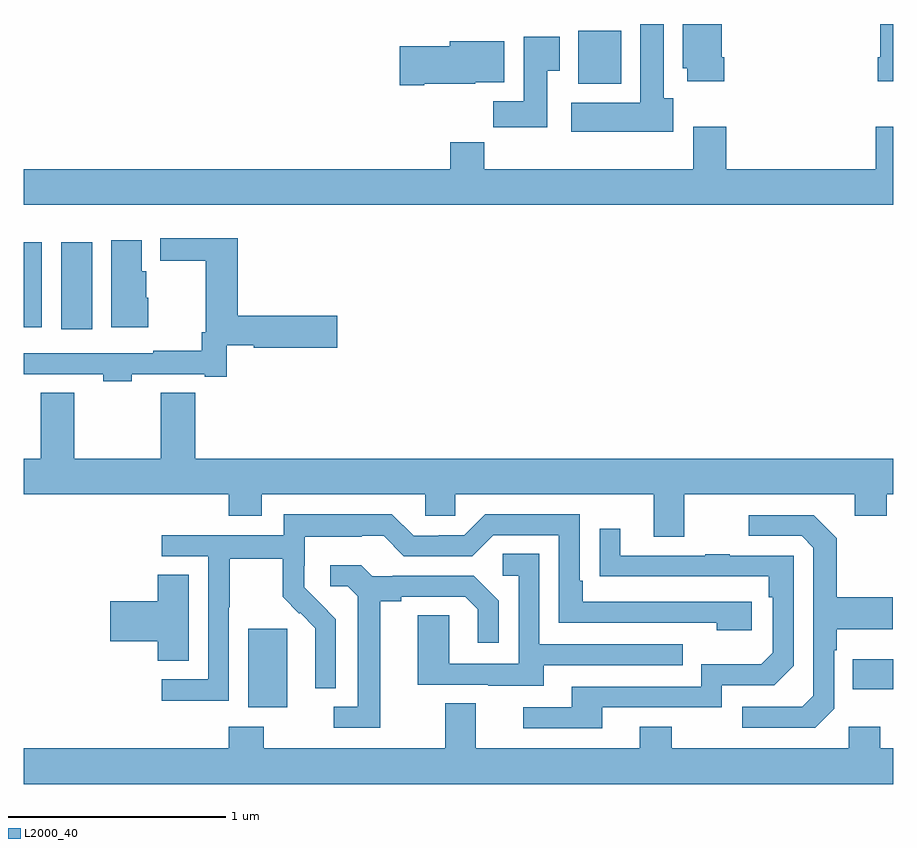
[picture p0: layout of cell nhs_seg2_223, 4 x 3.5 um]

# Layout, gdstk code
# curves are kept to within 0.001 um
import gdstk
lib = gdstk.Library(unit=1e-6, precision=1e-09)
def R(c, l, rs):  # rectangles x0, y0, x1, y1
    for r in rs: c.add(gdstk.rectangle(r[:2], r[2:], *l))
def P(c, l, *ps):  # polygons
    for p in ps: c.add(gdstk.Polygon(p, *l))
L2000_40 = (2000, 40)

nhs_seg2_223 = lib.new_cell('nhs_seg2_223')
R(nhs_seg2_223, L2000_40, [(122.033,646.658,122.212,647.019), (124.813,646.739,125,646.879), (121.172,648.396,121.315,648.796), (121,648.404,121.084,648.796), (123.551,649.526,123.748,649.768)])
P(nhs_seg2_223, L2000_40, [(124.223,649.648),(124.21,649.648),(124.21,649.8),(124.031,649.8),(124.031,649.596),(124.052,649.596),(124.052,649.536),(124.223,649.536)],
  [(125,649.8),(124.94,649.8),(124.94,649.648),(124.928,649.648),(124.928,649.536),(125,649.536)],
  [(123.988,649.458),(123.943,649.458),(123.943,649.8),(123.836,649.8),(123.836,649.438),(123.519,649.438),(123.519,649.304),(123.988,649.304)],
  [(123.409,649.585),(123.466,649.585),(123.466,649.741),(123.299,649.741),(123.299,649.444),(123.16,649.444),(123.16,649.326),(123.409,649.326)],
  [(122.842,649.526),(123.078,649.526),(123.078,649.532),(123.211,649.532),(123.211,649.72),(122.96,649.72),(122.96,649.697),(122.73,649.697),(122.73,649.519),(122.842,649.519)],
  [(125,649.327),(124.919,649.327),(124.919,649.132),(124.232,649.132),(124.232,649.327),(124.079,649.327),(124.079,649.132),(123.119,649.132),(123.119,649.256),(122.963,649.256),(122.963,649.132),(121,649.132),(121,648.968),(125,648.968)],
  [(121.497,648.189),(121.832,648.189),(121.832,648.177),(121.935,648.177),(121.935,648.323),(122.058,648.323),(122.058,648.311),(122.443,648.311),(122.443,648.458),(121.985,648.458),(121.985,648.814),(121.629,648.814),(121.629,648.712),(121.838,648.712),(121.838,648.382),(121.819,648.382),(121.819,648.298),(121.597,648.298),(121.597,648.285),(121,648.285),(121,648.189),(121.365,648.189),(121.365,648.157),(121.497,648.157)],
  [(121.573,648.54),(121.564,648.54),(121.564,648.663),(121.543,648.663),(121.543,648.805),(121.403,648.805),(121.403,648.404),(121.573,648.404)],
  [(121.79,648.104),(121.63,648.104),(121.63,647.8),(121.232,647.8),(121.232,648.104),(121.078,648.104),(121.078,647.8),(121,647.8),(121,647.636),(121.943,647.636),(121.943,647.537),(122.095,647.537),(122.095,647.636),(122.847,647.636),(122.847,647.538),(122.985,647.538),(122.985,647.636),(123.899,647.636),(123.899,647.442),(124.039,647.442),(124.039,647.636),(124.823,647.636),(124.823,647.537),(124.971,647.537),(124.971,647.636),(125,647.636),(125,647.8),(121.79,647.8)],
  [(121.944,647.116),(121.947,647.116),(121.947,647.34),(122.191,647.34),(122.191,647.165),(122.268,647.088),(122.271,647.091),(122.342,647.021),(122.342,646.898),(122.34,646.898),(122.34,646.744),(122.436,646.744),(122.436,647.062),(122.29,647.21),(122.29,647.307),(122.292,647.307),(122.292,647.441),(122.555,647.441),(122.555,647.445),(122.655,647.445),(122.748,647.352),(123.063,647.352),(123.159,647.448),(123.462,647.448),(123.462,647.046),(124.187,647.046),(124.187,647.012),(124.348,647.012),(124.348,647.142),(123.571,647.142),(123.571,647.239),(123.558,647.239),(123.558,647.544),(123.123,647.544),(123.027,647.448),(122.909,647.448),(122.909,647.445),(122.793,647.445),(122.693,647.545),(122.196,647.545),(122.196,647.448),(121.635,647.448),(121.635,647.352),(121.848,647.352),(121.848,646.785),(121.635,646.785),(121.635,646.687),(121.944,646.687)],
  [(124.728,646.65),(124.728,646.919),(124.741,646.919),(124.741,647.015),(124.997,647.015),(124.997,647.163),(124.741,647.163),(124.741,647.435),(124.635,647.541),(124.335,647.541),(124.335,647.445),(124.578,647.445),(124.632,647.391),(124.632,646.71),(124.581,646.659),(124.305,646.659),(124.305,646.563),(124.641,646.563)],
  [(123.661,646.656),(124.212,646.656),(124.212,646.758),(124.452,646.758),(124.542,646.848),(124.542,647.355),(124.247,647.355),(124.247,647.36),(124.135,647.36),(124.135,647.355),(123.745,647.355),(123.745,647.479),(123.649,647.479),(123.649,647.26),(124.426,647.259),(124.426,647.162),(124.446,647.162),(124.446,646.908),(124.393,646.855),(124.116,646.855),(124.116,646.752),(123.521,646.752),(123.521,646.656),(123.297,646.656),(123.297,646.56),(123.661,646.56)],
  [(123.391,646.851),(124.031,646.851),(124.031,646.947),(123.372,646.947),(123.372,647.363),(123.204,647.363),(123.204,647.262),(123.276,647.262),(123.276,646.857),(122.958,646.857),(122.958,647.081),(122.813,647.081),(122.813,646.761),(123.137,646.761),(123.137,646.757),(123.391,646.757)],
  [(122.641,647.144),(122.737,647.144),(122.737,647.166),(123.032,647.166),(123.089,647.109),(123.089,646.953),(123.186,646.953),(123.186,647.146),(123.07,647.262),(122.698,647.262),(122.698,647.259),(122.604,647.259),(122.552,647.311),(122.409,647.311),(122.409,647.214),(122.49,647.214),(122.537,647.167),(122.537,646.659),(122.427,646.659),(122.427,646.563),(122.641,646.563)],
  [(121.759,647.267),(121.616,647.267),(121.616,647.144),(121.398,647.144),(121.398,646.961),(121.616,646.961),(121.616,646.87),(121.759,646.87)],
  [(125,646.468),(124.941,646.468),(124.941,646.567),(124.794,646.567),(124.794,646.468),(123.981,646.468),(123.981,646.567),(123.833,646.567),(123.833,646.468),(123.079,646.468),(123.079,646.676),(122.939,646.676),(122.939,646.468),(122.103,646.468),(122.103,646.567),(121.943,646.567),(121.943,646.468),(121,646.468),(121,646.304),(125,646.304)])

lib.write_gds('nhs_seg2_223.gds')
